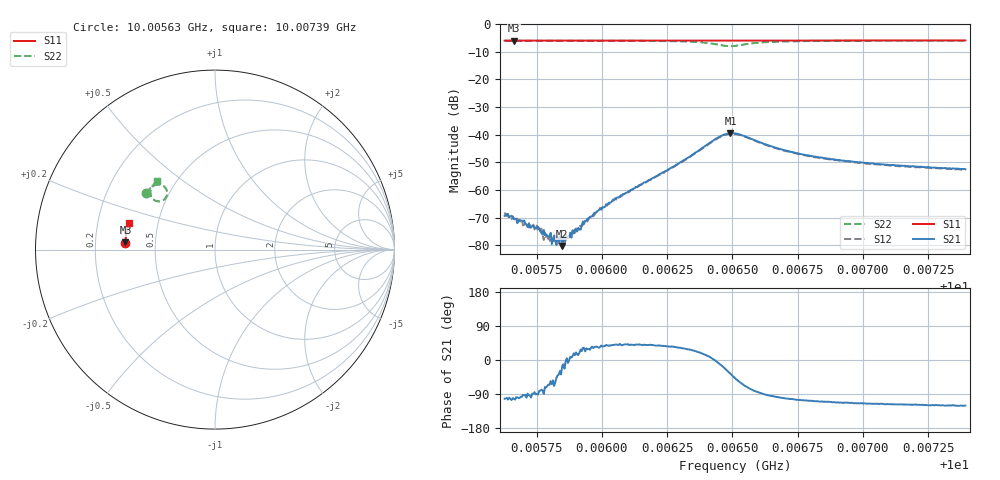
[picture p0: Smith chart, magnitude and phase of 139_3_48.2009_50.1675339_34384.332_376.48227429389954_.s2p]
#  HZ  S  RI  R  50.00
! Rohde & Schwarz Vector Network Analyzer
! Rohde-Schwarz,ZNB20-2Port,1311601062101988,3.16
! Created: UTC 3/20/2024, 11:42:15 AM
! freq[Hz]  re:S11  im:S11  re:S21  im:S21  re:S12  im:S12  re:S22  im:S22
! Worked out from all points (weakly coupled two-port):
!   401 points, 10.00563 GHz to 10.00739 GHz, reference 50 ohm
!   highest |S21| = -39.45 dB at 10.00649 GHz (marker M1); lowest = -80.2 dB at 10.00585 GHz (marker M2)
!   lowest |S11| = -6.0 dB at 10.00566 GHz (marker M3), VSWR 3.01, Z = 16.7 + j1.8 ohm
!   |S11| at or under -10 dB: nowhere
!   |S22| runs from -8.0 to -6.0 dB; largest |S21 - S12| = 0.00064
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1.0005627e10  -0.4994 0.0383  -7.2e-05 -0.000335  -7.54e-05 -0.000387  -0.3846 0.315
1.0005662e10  -0.4992 0.0406  -6.25e-05 -0.000293  -4.84e-05 -0.000309  -0.383 0.3172
1.0005671e10  -0.4993 0.0412  -4.5e-05 -0.000301  -2.55e-05 -0.000303  -0.3825 0.3175
1.0005693e10  -0.4992 0.0425  -3.54e-05 -0.000279  -3.54e-05 -0.000285  -0.3814 0.3191
1.0005759e10  -0.499 0.047  2.93e-05 -0.000201  2.45e-05 -0.000187  -0.3782 0.3231
1.0005781e10  -0.4987 0.0484  4.9e-05 -0.000146  5.24e-05 -0.000164  -0.3769 0.3245
1.0005794e10  -0.4989 0.0493  6.24e-05 -0.000133  2.7e-05 -0.000139  -0.3763 0.3252
1.0005817e10  -0.4987 0.0508  5.59e-05 -0.000141  9.19e-05 -7.6e-05  -0.3752 0.3267
1.0005847e10  -0.4985 0.0527  9.44e-05 -2.69e-05  8.05e-05 -5.44e-05  -0.3734 0.3286
1.0005865e10  -0.4984 0.054  0.000137 1.05e-05  0.000147 -1.57e-05  -0.3726 0.3298
1.0005923e10  -0.498 0.0576  0.000216 9.44e-05  0.0002 9.73e-05  -0.369 0.3336
1.0005945e10  -0.4982 0.059  0.000269 0.000146  0.000233 0.000143  -0.3677 0.3353
1.0005984e10  -0.4977 0.0615  0.000352 0.000234  0.000358 0.000252  -0.365 0.3378
1.0006051e10  -0.4973 0.0658  0.000528 0.000453  0.000521 0.000491  -0.3602 0.3424
1.0006218e10  -0.4962 0.0768  0.00151 0.0012  0.0014 0.00124  -0.3423 0.3554
1.0006444e10  -0.4933 0.0913  0.0088 -0.000974  0.00863 -0.000497  -0.2687 0.3293
1.0006492e10  -0.4927 0.0939  0.00856 -0.00634  0.00869 -0.00573  -0.2808 0.2814
1.000651e10  -0.4925 0.0947  0.00703 -0.00786  0.00732 -0.00729  -0.2973 0.2711
1.0006678e10  -0.4917 0.1054  -0.000829 -0.00554  -0.000545 -0.00548  -0.3601 0.3186
1.0006806e10  -0.4902 0.1136  -0.00126 -0.00389  -0.00107 -0.00386  -0.3547 0.3412
1.0007102e10  -0.486 0.1323  -0.00127 -0.00254  -0.00113 -0.00254  -0.3379 0.3669
1.0007393e10  -0.4815 0.1505  -0.00121 -0.00205  -0.00106 -0.00208  -0.3223 0.3839
